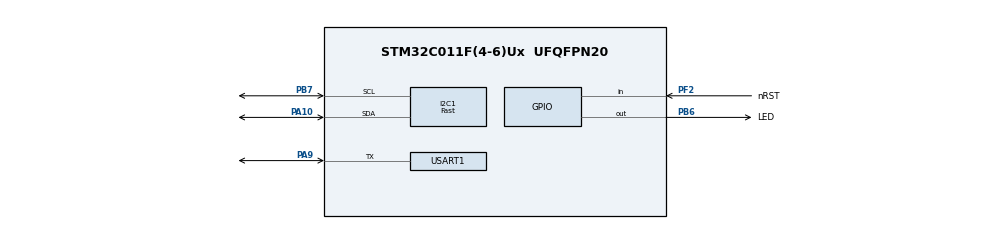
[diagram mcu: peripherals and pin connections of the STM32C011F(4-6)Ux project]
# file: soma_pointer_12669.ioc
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I2C1.I2C_Speed_Mode=I2C_Fast
I2C1.Timing=0x2010091A
Mcu.Family=STM32C0
Mcu.Name=STM32C011F(4-6)Ux
Mcu.Package=UFQFPN20
NVIC.TIM17_IRQn=true\:0\:0\:false\:false\:true\:true\:true\:true
NVIC.TIM1_BRK_UP_TRG_COM_IRQn=true\:0\:0\:false\:false\:true\:true\:true\:true
NVIC.USART1_IRQn=true\:0\:0\:false\:false\:true\:true\:true\:true
PA10\ [PA12].GPIO_Pu=GPIO_PULLUP
PA10\ [PA12].Mode=I2C
PA10\ [PA12].Signal=I2C1_SDA
PA13.Mode=Serial_Wire
PA13.Signal=DEBUG_SWDIO
PA14-BOOT0.Mode=Serial_Wire
PA14-BOOT0.Signal=DEBUG_SWCLK
PA9\ [PA11].GPIO_FMPA9=SYSCFG_FASTMODEPLUS_PA9
PA9\ [PA11].GPIO_PuPd=GPIO_NOPULL
PA9\ [PA11].GPIO_Speed=GPIO_SPEED_FREQ_HIGH
PA9\ [PA11].Mode=Half_duplex(single_wire_mode)
PA9\ [PA11].Signal=USART1_TX
PB6.GPIO_Label=LED
PB6.GPIO_Speed=GPIO_SPEED_FREQ_VERY_HIGH
PB6.PinState=GPIO_PIN_RESET
PB6.Signal=GPIO_Output
PB7.GPIO_Pu=GPIO_PULLUP
PB7.Mode=I2C
PB7.Signal=I2C1_SCL
PF2-NRST.GPIO_Label=nRST
PF2-NRST.Signal=GPIO_Input
ProjectManager.HeapSize=0x200
ProjectManager.StackSize=0x400
ProjectManager.TargetToolchain=STM32CubeIDE
RCC.ADCFreq_Value=48000000
RCC.AHBFreq_Value=48000000
RCC.CortexFreq_Value=48000000
RCC.EXTERNAL_CLOCK_VALUE=12288000
RCC.HCLKFreq_Value=48000000
RCC.HSE_VALUE=48000000
RCC.HSISYSCLKDivider=RCC_HSI_DIV1
RCC.HSI_VALUE=48000000
RCC.LSE_VALUE=32768
RCC.SYSCLKFreq_VALUE=48000000
TIM1.Period=9
TIM1.Prescaler=4799
TIM17.Prescaler=47
USART1.BaudRate=1000000
USART1.VirtualMode-Half_duplex(single_wire_mode)=VM_ASYNC
VP_CRC_VS_CRC.Mode=CRC_Activate
VP_SYS_VS_PINREMAP.Mode=PINREMAP
VP_SYS_VS_PINREMAP_10_12.Mode=PINREMAP_10_12
VP_TIM17_VS_ClockSourceINT.Mode=Enable_Timer
VP_TIM1_VS_ClockSourceINT.Mode=Internal
board=STM32C0116-DK

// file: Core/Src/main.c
/* USER CODE BEGIN Header */
/**
  ******************************************************************************
  * @file           : main.c
  * @brief          : Main program body
  ******************************************************************************
  * @attention

  ******************************************************************************
  */
/* USER CODE END Header */
#include "main.h"
#include "crc.h"
#include "i2c.h"
#include "tim.h"
#include "usart.h"
#include "gpio.h"

/* USER CODE BEGIN Includes */
#include <stdio.h>
#include "string.h"
#include "stm32c0xx_hal_flash.h"

#include "app_mmc5603nj.h"
#include "app_tmp1075n.h"
#include "app_flash.h"

/* USER CODE END Includes */

/* USER CODE BEGIN PTD */

#define LOCALSLAVEADDR  1
uint8_t islaveaddrin=0;

uint8_t slavecmd[TXDATALEN]={0};

uint32_t idataoff =0;
uint32_t irestlen =0;

#define PAGE_DATA_SIZE  256  //2048
uint32_t icrctempdata[PAGE_DATA_SIZE/4+1]={0};

uint8_t FLASHTEMPDATA[PAGE_DATA_SIZE]= {0};
uint32_t ialldatalen=0;
uint32_t istepdatalen=0;
uint8_t flg_haverest =0;

uint8_t imagdata[13]={0};

/* USER CODE END PTD */

/* USER CODE BEGIN PD */

volatile uint8_t flg_rx=0;
volatile uint8_t irxdata[RXDATALEN+2]={0};
volatile uint8_t irxdata2[RXDATALEN+2]={0};
volatile uint32_t irxcount = 0;
volatile uint32_t irxcount2 = 0;

/* USER CODE END PD */

/* USER CODE BEGIN PM */

//static FLASH_EraseInitTypeDef EraseInitStruct;
//uint32_t iflashaddr = 0;
//uint32_t PageError = 0;

/* USER CODE END PM */

void SystemClock_Config(void);

/* USER CODE BEGIN 0 */

void delay_nop(uint32_t iCount)
{

   while( iCount--)
   {
      __NOP();
   }
}

void Send_Data_To_UART1 (uint8_t c)
{
   USART1->TDR = c;
   while( (USART1-> ISR & (1<<7) ) ==0 );  //USART_ISR_TC  //USART_ISR_TXE_TXFNF
}

void iputs1(char *msg)
{
   while(*msg)
   Send_Data_To_UART1(*msg++);
}

void iputbytes1(uint8_t *msg, uint32_t ilen)
{
   while(ilen--)
   Send_Data_To_UART1(*msg++);
}

void uartsendcmd(uint8_t *scmd, uint32_t ilen)
{
   //switch to tx
   delay_nop(WAIT2TE_SLAVE); //delay_nop(WAIT2TE_MASTER);
   switch2send(USART1);

   //iputbytes1((uint8_t *)scmd,ilen);
   iputbytes1(scmd,ilen);

   //switch to rx
   delay_nop(WAIT2RE_SLAVE);  //delay_nop(WAIT2RE0_MASTER);
   switch2read(USART1);
}

void uartsendstr(uint8_t *str1)
{
   //switch to tx
   delay_nop(WAIT2TE_SLAVE); //delay_nop(WAIT2TE_MASTER);
   switch2send(USART1);

   iputs1((char*)str1);

   //switch to rx
   delay_nop(WAIT2RE_SLAVE);  //delay_nop(WAIT2RE0_MASTER);
   switch2read(USART1);
}

void uart1_rx_callback(void)
{
      static uint8_t flg_rxstart1 =0;
      static uint8_t flg_rxstart2 =0;
      static uint8_t flg_rxstart3 =0;
      static uint8_t ilen =0;

      uint8_t cuartbyte=0;

      if (LL_USART_IsActiveFlag_RXNE(USART1) && LL_USART_IsEnabledIT_RXNE(USART1))
      {
         //USART1->ISR &= ~(USART_ISR_RXNE_RXFNE);  //auto cleared by readed

         cuartbyte = (uint8_t)(READ_BIT(USART1->RDR, USART_RDR_RDR) & 0xFFU);

         if( (flg_rxstart1==0) && ( cuartbyte !=CMDHEADER2) )
            return;

         if( (flg_rxstart1==0) && ( cuartbyte ==CMDHEADER2) )
         {
            flg_rxstart1=1;
            irxdata[irxcount++]=cuartbyte;
            return;
         }

         if( (flg_rxstart2==0) && (flg_rxstart1==1) && ( cuartbyte !=CMDHEADER1) )
         {
            flg_rxstart1=0;
            irxcount=0;
            return;
         }
         if( (flg_rxstart2==0) && (flg_rxstart1==1) && ( cuartbyte ==CMDHEADER1) )
         {
            flg_rxstart2=1;
            irxdata[irxcount++]=cuartbyte;
            return;
         }

         if( (flg_rxstart2==1) && (flg_rxstart3==0) )
         {
            ilen=cuartbyte;
            irxdata[irxcount++]=cuartbyte;
            flg_rxstart3=1;

            return;
         }

         if( flg_rxstart3==1)
         {
            irxdata[irxcount++]=cuartbyte;

            if(irxcount>=(ilen+3))
            {
               memcpy((void *)irxdata2,(void *)irxdata,irxcount);
               irxcount2=irxcount;
               flg_rx=1;

               irxcount=0;
               ilen=0;
               flg_rxstart1=0;
               flg_rxstart2=0;
               flg_rxstart3=0;
            }
         }
      }
      else
      {

         //__IO uint32_t iregval;
         //iregval = LL_USART_ReadReg(USART1, ISR);

         //if (iregval & LL_USART_ISR_NE)  //2
         //   LL_USART_ClearFlag_NE(USART1);
         //else if (iregval & LL_USART_ISR_PE)  //0
         //   LL_USART_ClearFlag_PE(USART1);
         //else if (iregval & LL_USART_ISR_ORE)  //3
         //   LL_USART_ClearFlag_ORE(USART1);
         //else if (iregval & LL_USART_ISR_FE)  //1
         //   LL_USART_ClearFlag_FE(USART1);

         //LL_USART_ClearFlag_RTO(USART1);  //11
         //LL_USART_ClearFlag_UDR(USART1);;  //13

      }
}

uint8_t get_checksum_8(uint8_t *ival, uint32_t inum)
{
   uint32_t i =0;
   uint8_t iret =0;
   uint16_t isum =0;

   for (i=0; i<inum; i++)
   {
      isum += ival[i];
   }

   iret = (uint8_t)(isum & 0xff);

   return iret;
}

uint32_t byte2uint32(uint8_t *strin, uint32_t *strout, uint32_t ilen)
{

   uint32_t i = 0;
   uint32_t iret = 0;

   //get crc adder
   for ( i=0; i<(ilen/4); i++)
   {
      strout[i] = (uint32_t)((strin[4*i] << 24) | (strin[4*i+1] << 16) | (strin[4*i+ 2] << 8) | strin[4*i+3]);
   }

   //last word
   if ( (ilen%4) == 3)
      strout[i] = (uint32_t)((strin[4*i] << 24) | (strin[4*i+1] << 16) | (strin[4*i+ 2] << 8) );
   if ( (ilen%4) == 2)
      strout[i] = (uint32_t)((strin[4*i] << 24) | (strin[4*i+1] << 16) );
   if ( (ilen%4) == 1)
      strout[i] = (uint32_t)((strin[4*i] << 24) );

   //get crc len
   if( (ilen%4) ==0)
      iret =  ilen/4;
   else
      iret = ilen/4 +1;

   return iret;
}

uint32_t calcu_crc32(uint32_t *idatain, uint32_t len)
{
   uint32_t icrc_poly = 0x04C11DB7;
   uint32_t icrc_out = 0xffffffff;

   for(uint32_t i = 0; i < len; i++)
   {
      icrc_out ^= idatain[i];

      for (uint8_t j = 0; j < 32; j++)
      {
         if (icrc_out & 0x80000000)
            icrc_out = (icrc_out << 1) ^ icrc_poly;
         else
            icrc_out <<= 1;
      }
   }

   return (icrc_out);
}

uint32_t calcu_crc32ex(uint32_t *idatain, uint32_t len, uint32_t icrc_in)
{
   uint32_t icrc_poly = 0x04C11DB7;
   uint32_t icrc_out = icrc_in;

   for(uint32_t i = 0; i < len; i++)
   {
      icrc_out ^= idatain[i];

      //Send_Data_To_UART1(i);  //test

      for (uint8_t j = 0; j < 32; j++)
      {
         if (icrc_out & 0x80000000)
            icrc_out = (icrc_out << 1) ^ icrc_poly;
         else
            icrc_out <<= 1;
      }
   }

   return (icrc_out);
}

uint32_t stm32_crc32(uint32_t *idatain, uint32_t len)
{

   LL_CRC_SetInitialData(CRC, LL_CRC_DEFAULT_CRC_INITVALUE);

   for(uint32_t i = 0; i < len; i++)
   {
      LL_CRC_FeedData32(CRC,  idatain[i]);
   }

   return (LL_CRC_ReadData32(CRC));
}

uint32_t stm32_crc32ex(uint32_t *idatain, uint32_t len, uint32_t icrc_in)
{

   LL_CRC_SetInitialData(CRC, icrc_in);

   for(uint32_t i = 0; i < len; i++)
   {
      LL_CRC_FeedData32(CRC,  idatain[i]);
   }

   return (LL_CRC_ReadData32(CRC));
}

uint8_t i2c_writereg(uint16_t idevaddr, uint8_t ireg,uint8_t data)
{
   if((HAL_I2C_Mem_Write(&hi2c1,idevaddr,ireg,I2C_MEMADD_SIZE_8BIT,&data,1,1000)) == HAL_OK)
   {
      return 0;
   }
   else
   {
      return 1;
   }
}

uint8_t i2c_readreg(uint16_t idevaddr,uint8_t ireg)
{
   uint8_t res;
   HAL_I2C_Mem_Read(&hi2c1,idevaddr,ireg,I2C_MEMADD_SIZE_8BIT,&res,1,1000);
   return res;
}

uint8_t i2c_writebytes(uint16_t idevaddr, uint8_t ireg, uint8_t *sbuf,uint16_t ilen)
{
   if((HAL_I2C_Mem_Write(&hi2c1,idevaddr,ireg,I2C_MEMADD_SIZE_8BIT,sbuf,ilen,1000)) == HAL_OK)
   {
      return 0;
   }
   else
   {
      return 1;
   }
}

uint8_t i2c_readbytes(uint16_t idevaddr,uint8_t ireg,uint8_t *sbuf,uint16_t ilen)
{
   if((HAL_I2C_Mem_Read(&hi2c1,idevaddr,ireg,I2C_MEMADD_SIZE_8BIT,sbuf,ilen,1000)) == HAL_OK)
   {
      return 0;
   }
   else
   {
      return 1;
   }
}

void dowithuart(void)
{
   uint32_t ipackdatalen=0;
   uint32_t icrc=0;
   uint32_t icrclen=0;
   uint32_t icrcin=0;
   static uint32_t icrcstep=0;

   switch (irxdata2[3])   //command
   {

      case 0xC1:

            erease_flash_data();

            //response command D1
            slavecmd[0]=CMDHEADER1;       //0xAA;
            slavecmd[1]=CMDHEADER2;       //0x55;
            slavecmd[2]=0x03;              //len
            slavecmd[3]=0xD1;              //command
            slavecmd[4]=LOCALSLAVEADDR;   //local addr
            slavecmd[5]=get_checksum_8(slavecmd,5);
            uartsendcmd(slavecmd,6);

            iflashaddr = FLASH_EEPROM_START_ADDR;   //7800
            idataoff =0;
            istepdatalen=0;
            icrcstep=LL_CRC_DEFAULT_CRC_INITVALUE;
            ialldatalen=0;
            flg_haverest=0;

            break;

      case 0xC2:

            ipackdatalen=irxdata2[2]-3;

            if( (ialldatalen+ipackdatalen) > MAX_EEPROMDATALEN)
            {
               uartsendcmd( (uint8_t*)"max data err\r\n", 14);
               break;
            }

            if( (idataoff+ipackdatalen) > PAGE_DATA_SIZE)
            {
               uartsendcmd( (uint8_t*)"data err\r\n", 10);
               break;
            }

            //copy to array
            for( uint32_t i=0; i<ipackdatalen; i++)
            {
               FLASHTEMPDATA[idataoff+i]=irxdata2[5+i];
            }

            idataoff += ipackdatalen;

            //------------------save to flash--------------------

            if( idataoff == PAGE_DATA_SIZE)
            {
               flg_haverest=0;

               //make step crc
               istepdatalen=idataoff;
               icrclen=byte2uint32( (uint8_t *)FLASHTEMPDATA,icrctempdata,istepdatalen);

               //icrc = stm32_crc32(icrctempdata, icrclen);
               icrc = stm32_crc32ex(icrctempdata, icrclen, icrcstep);

               write_flash_data(FLASHTEMPDATA,istepdatalen);

               icrcstep=icrc;
               ialldatalen+=istepdatalen;  //idataoff
               idataoff=0;
            }
            else
            {
               flg_haverest =1;
            }

            //------------------save to flash-----end---------------

            //response command D2
            slavecmd[0]=CMDHEADER1;  //0xAA;
            slavecmd[1]=CMDHEADER2;  //0x55;
            slavecmd[2]=0x03;
            slavecmd[3]=0xD2;
            slavecmd[4]=LOCALSLAVEADDR;
            slavecmd[5]=get_checksum_8(slavecmd,5);
            uartsendcmd(slavecmd,6);

            break;

      case 0xC3:

            //------------------save to flash--------------------

            //if( idataoff < PAGE_DATA_SIZE)
            if( flg_haverest==1)
            {
               uint8_t iremainder=0;

               flg_haverest=0;

               iremainder= idataoff % 8;
               if(iremainder!=0)
                   memset(FLASHTEMPDATA+idataoff,0xff,8-iremainder);

               //make step crc
               istepdatalen=idataoff;
               icrclen=byte2uint32( (uint8_t *)FLASHTEMPDATA,icrctempdata,istepdatalen);

               //icrc = stm32_crc32(icrctempdata, icrclen);
               icrc = stm32_crc32ex(icrctempdata, icrclen, icrcstep);

               write_flash_data(FLASHTEMPDATA,istepdatalen);

               icrcstep=icrc;
               ialldatalen+=istepdatalen;  //idataoff
               idataoff=0;
            }
            //------------------save to flash-----end---------------

            //check crc
            icrcin+=(uint32_t)(irxdata2[5]<<24);
            icrcin+=(uint32_t)(irxdata2[6]<<16);
            icrcin+=(uint32_t)(irxdata2[7]<<8);
            icrcin+=(uint32_t)(irxdata2[8]);

            if(icrcstep==icrcin)
            {
               slavecmd[0]=CMDHEADER1;  //0xAA;
               slavecmd[1]=CMDHEADER2;  //0x55;
               slavecmd[2]=0x03;
               slavecmd[3]=0xD3;
               slavecmd[4]=LOCALSLAVEADDR;
               slavecmd[5]=get_checksum_8(slavecmd,5);
               uartsendcmd(slavecmd,6);
            }
            else
            {
               slavecmd[0]=CMDHEADER1;  //0xAA;
               slavecmd[1]=CMDHEADER2;  //0x55;
               slavecmd[2]=0x03;
               slavecmd[3]=0xE3;
               slavecmd[4]=LOCALSLAVEADDR;
               slavecmd[5]=get_checksum_8(slavecmd,5);
               uartsendcmd(slavecmd,6);

               break;
            }

            //--test log
            //uartsendcmd( (uint8_t*)(&ialldatalen), 4);

            //-------------------read out the flash data -------------------

            memset(FLASHTEMPDATA,0,PAGE_DATA_SIZE);
            iflashaddr = FLASH_EEPROM_START_ADDR;        //0800 3000
            icrcstep=LL_CRC_DEFAULT_CRC_INITVALUE;

            uint32_t ialldatalen2=0;
            ialldatalen2=ialldatalen;
            while( ialldatalen2>0 )
            {

               if(ialldatalen2 >= PAGE_DATA_SIZE)
                  istepdatalen = PAGE_DATA_SIZE;
               else
                  istepdatalen = ialldatalen2;

               for(uint32_t j=0; j<istepdatalen; j+=4)
                  *(__IO uint32_t *)( &FLASHTEMPDATA[j] ) = *(__IO uint32_t *)(iflashaddr+j);

               //make step crc
               icrclen=byte2uint32( (uint8_t *)FLASHTEMPDATA,icrctempdata,istepdatalen);
               icrc = stm32_crc32ex(icrctempdata, icrclen, icrcstep);

               //uartsendcmd( FLASHTEMPDATA, istepdatalen);       //--test log

               //ipage++;
               icrcstep=icrc;
               ialldatalen2 -= istepdatalen;
               iflashaddr += istepdatalen;
               istepdatalen = 0;

            }

            if(icrc!=icrcin)
                uartsendcmd( (uint8_t*)"crc err\r\n", 9);

            //-------------------read out the flash data ---end----------------

            break;

      default:
            break;
   }

}

/* USER CODE END 0 */

int main(void)
{
   /* USER CODE BEGIN 1 */

   //SCB->VTOR = FLASH_BASE_ADDR + FLASH_APP_START_PAGE * FLASH_PAGESIZE;    //VECT_TAB_OFFSET

   /* USER CODE END 1 */

   /* MCU Configuration--------------------------------------------------------*/

   /* Reset of all peripherals, Initializes the Flash interface and the Systick. */
   HAL_Init();

   /* Configure the system clock */
   SystemClock_Config();

   /* Initialize all configured peripherals */
   MX_GPIO_Init();
   MX_USART1_UART_Init();
   MX_TIM1_Init();
   MX_TIM17_Init();
   MX_CRC_Init();
   MX_I2C1_Init();
   /* USER CODE BEGIN 2 */

   uartsendstr( (uint8_t*)"start");

   /* USER CODE END 2 */

   /* Infinite loop */
   /* USER CODE BEGIN WHILE */

   //mmc5603 init
   mmc5603nj_init();

   //config mmc5603nj
   mmc5603nj_config_continuous();

   while (1)
   {
      static uint32_t iuart_rxledcount=0;
      static uint32_t isensorcount=0;
      static uint32_t iresetcount=0;
      //uint8_t ichecksum=0;

      //LL_mDelay(100);

      if(flg_timer1==1)
      {
         flg_timer1=0;

         iuart_rxledcount++;
         isensorcount++;

         iresetcount++;
      }

      //-------------test read mag data----------------------

     if( isensorcount >=10)
      {
         isensorcount=0;

         //read auto data
         //mmc5603nj_read_continuous_data();

         //read single data
         mmc5603nj_read_single_data();

         //print data
         imagdata[0]=0xAA;
         imagdata[1]=0x55;
//         uartsendcmd( imagdata,11); //13
      }

     if( iresetcount >=1)
      {
    	 iresetcount=0;

    	 //do set
    	 i2c_writereg(MMC5603NJ_IC_ADDRESS, MMC5603NJ_REG_CTRL0, MMC5603NJ_CMD_SET);
    	 delay_nop(50);
      }

      //-------------test read mag data---end-------------------

      //uart rx
      if (flg_rx==1)
      {
         flg_rx=0;
         //uartsendstr( (uint8_t*)"rx in\r\n" );

         islaveaddrin=irxdata2[4];

         //checksum
         uint8_t ichecksum=0;
         ichecksum = get_checksum_8((uint8_t *)irxdata2,irxcount2-1);

         if(ichecksum == irxdata2[irxcount2-1])
            if(islaveaddrin==LOCALSLAVEADDR)
               dowithuart();

      }

		if( iuart_rxledcount >=1000)
		{
			 iuart_rxledcount=0;
			 LL_GPIO_TogglePin( LED_GPIO_Port, LED_Pin);
		}

  }

   /* USER CODE END WHILE */

}

void SystemClock_Config(void)
{

  LL_FLASH_SetLatency(LL_FLASH_LATENCY_1);

  /* HSI configuration and activation */
  LL_RCC_HSI_Enable();
  while(LL_RCC_HSI_IsReady() != 1)
  {
  }

  LL_RCC_HSI_SetCalibTrimming(64);
  LL_RCC_SetHSIDiv(LL_RCC_HSI_DIV_1);
  /* Set AHB prescaler*/
  LL_RCC_SetAHBPrescaler(LL_RCC_HCLK_DIV_1);

  /* Sysclk activation on the HSI */
  LL_RCC_SetSysClkSource(LL_RCC_SYS_CLKSOURCE_HSI);
  while(LL_RCC_GetSysClkSource() != LL_RCC_SYS_CLKSOURCE_STATUS_HSI)
  {
  }

  /* Set APB1 prescaler*/
  LL_RCC_SetAPB1Prescaler(LL_RCC_APB1_DIV_1);
  /* Update CMSIS variable (which can be updated also through SystemCoreClockUpdate function) */
  LL_SetSystemCoreClock(48000000);

   /* Update the time base */
  if (HAL_InitTick (TICK_INT_PRIORITY) != HAL_OK)
  {
    Error_Handler();
  }
}

void Error_Handler(void)
{
   __disable_irq();
   while (1)
   {
   }
}
